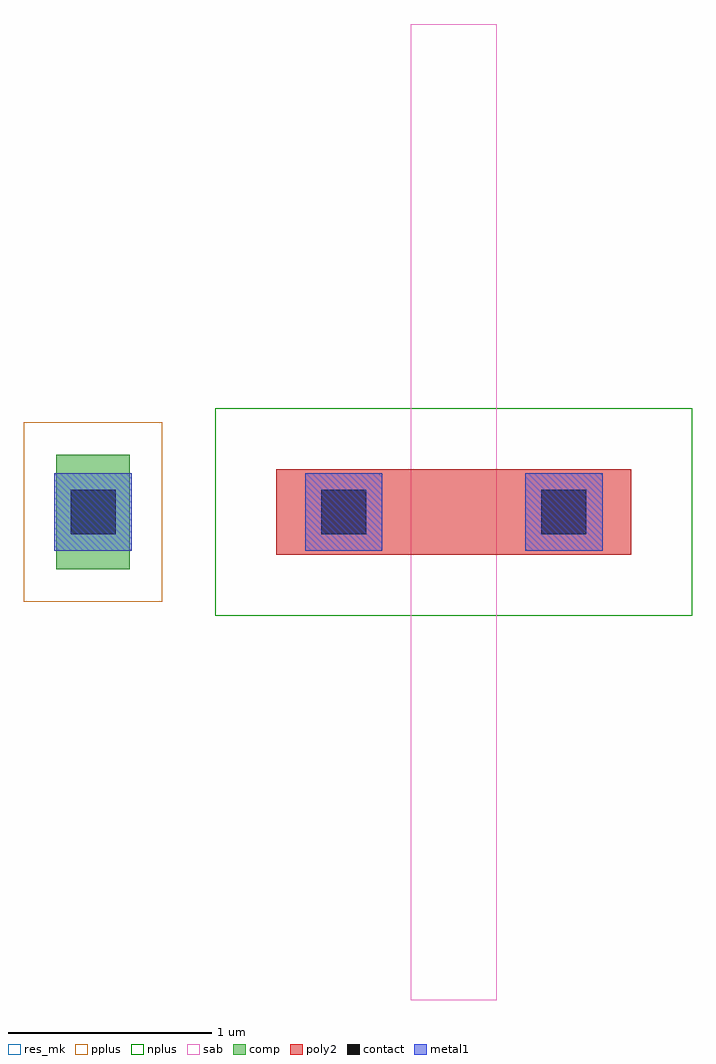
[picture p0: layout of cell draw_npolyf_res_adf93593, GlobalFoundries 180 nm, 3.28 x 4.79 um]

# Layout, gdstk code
import gdstk
lib = gdstk.Library(unit=1e-6, precision=1e-09)
def R(c, l, rs):  # rectangles x0, y0, x1, y1
    for r in rs: c.add(gdstk.rectangle(r[:2], r[2:], *l))
comp = (22, 0)
poly2 = (30, 0)
pplus = (31, 0)
nplus = (32, 0)
contact = (33, 0)
metal1 = (34, 0)
sab = (49, 0)
res_mk = (110, 5)

draw_npolyf_res_adf93593 = lib.new_cell('draw_npolyf_res_adf93593')
R(draw_npolyf_res_adf93593, comp, [(-1.74,-0.07,-1.38,0.49)])
R(draw_npolyf_res_adf93593, poly2, [(-0.66,0,1.08,0.42)])
R(draw_npolyf_res_adf93593, pplus, [(-1.9,-0.23,-1.22,0.65)])
R(draw_npolyf_res_adf93593, nplus, [(-0.96,-0.3,1.38,0.72)])
R(draw_npolyf_res_adf93593, contact, [(-1.67,0.1,-1.45,0.32), (-0.44,0.1,-0.22,0.32), (0.64,0.1,0.86,0.32)])
R(draw_npolyf_res_adf93593, metal1, [(-1.75,0.02,-1.37,0.4), (-0.52,0.02,-0.14,0.4), (0.56,0.02,0.94,0.4)])
R(draw_npolyf_res_adf93593, sab, [(0,-2.185,0.42,2.605)])
R(draw_npolyf_res_adf93593, res_mk, [(0,0,0.42,0.42)])

lib.write_gds('draw_npolyf_res_adf93593.gds')
